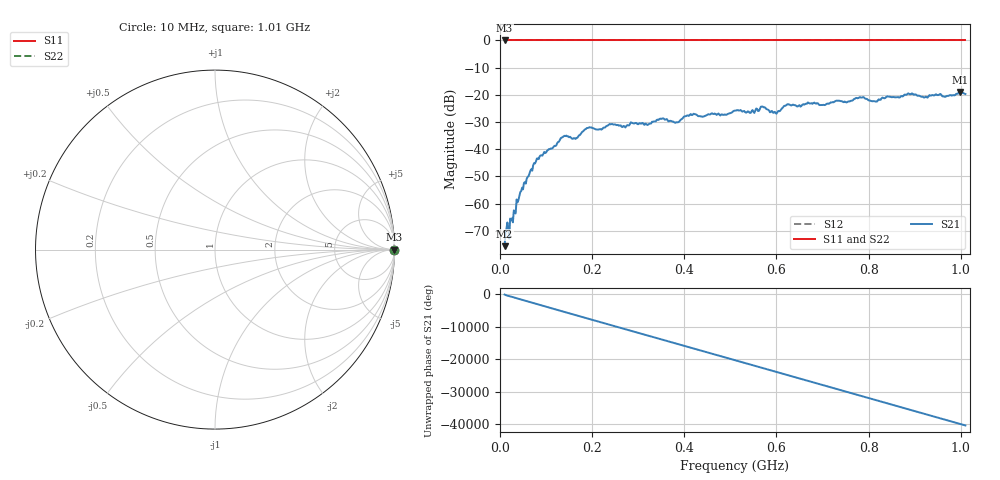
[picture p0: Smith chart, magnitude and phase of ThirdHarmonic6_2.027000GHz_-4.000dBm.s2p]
! 8/17/2025 12:19:21 AM
! C:\ANRITSUVNA\TEMP\TEMP.S2P
! CHANNEL.1
! TR.MEASUREMENT
! RAW.DATA
! RF.CORRECTION.OFF
! AVERAGING.OFF
! IF.BANDWIDTH: 5KHZ
! SWEEPTYPE:  FREQ.SWEEP(Linear)
! Reference Plane Port Info
! PORT:  PORT1  PORT2
! DISTANCE:  0  m  0  m
! TIME:  0  s  0  s
! PHASE.OFFSET:  0  deg.  0  deg.
! LOSS:  0  dB  0  dB
! REF.LOSS:  0  dB  0  dB
! REF.FREQ:  0  Hz  0  Hz
! Power Info
! POWER:  -20  dBm  -20  dBm
! EFF.POWER:  -20  dBm  -20  dBm
! SOURCE.ATTEN:  0  dB  0  dB
! TEST.ATTEN:  0  dB  0  dB
# GHZ S RI R 50.0
! FREQ.GHZ  S11RE  S11IM  S21RE  S21IM  S12RE  S12IM  S22RE  S22IM
!; PortSelection: Port_12
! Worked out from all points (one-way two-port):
!   501 points, 10 MHz to 1.01 GHz, reference 50 ohm
!   highest |S21| = -18.92 dB at 998 MHz (marker M1); lowest = -75.6 dB at 10 MHz (marker M2)
!   lowest |S11| = 0.0 dB at 10 MHz (marker M3)
!   |S11| at or under -10 dB: nowhere
!   |S22| runs from 0.0 to 0.0 dB; largest |S21 - S12| = 1.1
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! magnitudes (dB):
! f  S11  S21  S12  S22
! 10 MHz  0.0  -75.6  0.0  0.0
! 48 MHz  0.0  -54.1  0.0  0.0
! 78 MHz  0.0  -44.5  0.0  0.0
! 136 MHz  0.0  -35.5  0.0  0.0
! 164 MHz  0.0  -36.2  0.0  0.0
! 178 MHz  0.0  -33.7  0.0  0.0
! 194 MHz  0.0  -31.9  0.0  0.0
! 322 MHz  0.0  -30.9  0.0  0.0
! 344 MHz  0.0  -29.2  0.0  0.0
! 384 MHz  0.0  -30.1  0.0  0.0
! 416 MHz  0.0  -27.4  0.0  0.0
! 510 MHz  0.0  -25.8  0.0  0.0
! 548 MHz  0.0  -25.6  0.0  0.0
! 570 MHz  0.0  -24.3  0.0  0.0
! 598 MHz  0.0  -26.5  0.0  0.0
! 624 MHz  0.0  -23.4  0.0  0.0
! 678 MHz  0.0  -23.3  0.0  0.0
! 784 MHz  0.0  -21.0  0.0  0.0
! 814 MHz  0.0  -22.4  0.0  0.0
! 844 MHz  0.0  -20.6  0.0  0.0
! 998 MHz  0.0  -18.9  0.0  0.0
! 1.01 GHz  0.0  -19.7  0.0  0.0
